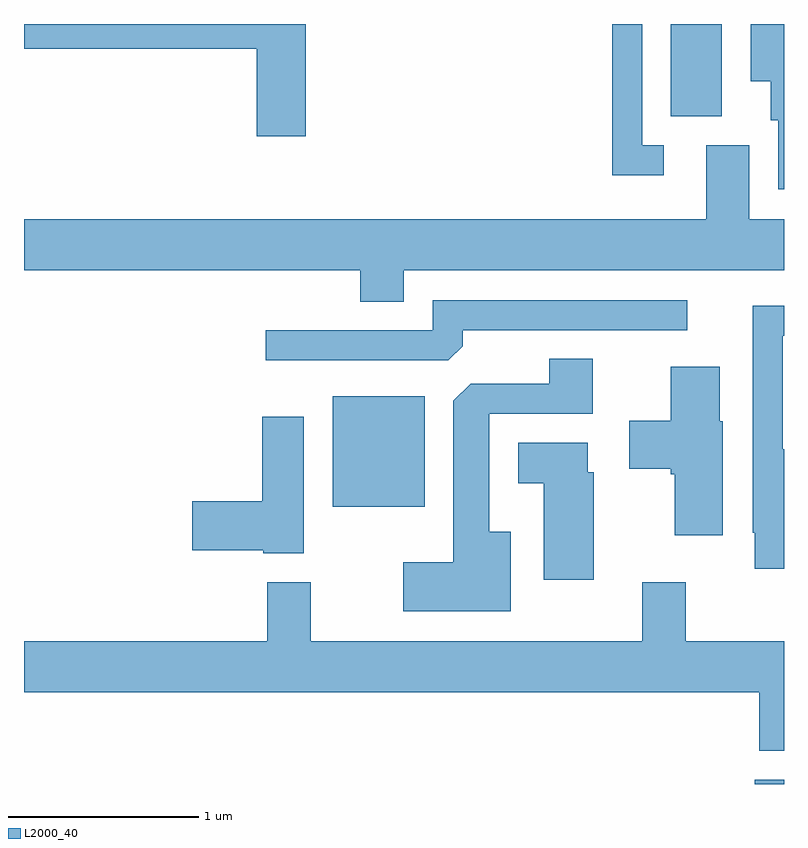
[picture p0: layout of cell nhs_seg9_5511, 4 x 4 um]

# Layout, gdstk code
import gdstk
lib = gdstk.Library(unit=1e-6, precision=1e-09)
def R(c, l, rs):  # rectangles x0, y0, x1, y1
    for r in rs: c.add(gdstk.rectangle(r[:2], r[2:], *l))
def P(c, l, *ps):  # polygons
    for p in ps: c.add(gdstk.Polygon(p, *l))
L2000_40 = (2000, 40)

nhs_seg9_5511 = lib.new_cell('nhs_seg9_5511')
R(nhs_seg9_5511, L2000_40, [(351.456,2002.432,351.611,2002.454), (349.236,2003.891,349.719,2004.474), (351.016,2005.946,351.284,2006.432)])
P(nhs_seg9_5511, L2000_40, [(349.094,2006.432),(347.611,2006.432),(347.611,2006.301),(348.836,2006.301),(348.836,2005.841),(349.094,2005.841)],
  [(351.611,2006.432),(351.436,2006.432),(351.436,2006.131),(351.541,2006.131),(351.541,2005.926),(351.581,2005.926),(351.581,2005.561),(351.611,2005.561)],
  [(350.978,2005.794),(350.864,2005.794),(350.864,2006.432),(350.706,2006.432),(350.706,2005.636),(350.978,2005.636)],
  [(349.609,2005.136),(351.611,2005.136),(351.611,2005.404),(351.429,2005.404),(351.429,2005.794),(351.201,2005.794),(351.201,2005.404),(347.611,2005.404),(347.611,2005.136),(349.381,2005.136),(349.381,2004.971),(349.609,2004.971)],
  [(349.919,2004.737),(349.919,2004.821),(351.103,2004.821),(351.103,2004.979),(349.761,2004.979),(349.761,2004.819),(348.883,2004.819),(348.883,2004.661),(349.844,2004.661)],
  [(351.611,2004.194),(351.604,2004.194),(351.604,2004.791),(351.611,2004.791),(351.611,2004.949),(351.446,2004.949),(351.446,2003.755),(351.456,2003.755),(351.456,2003.566),(351.611,2003.566)],
  [(350.174,2003.759),(350.059,2003.759),(350.059,2004.381),(350.604,2004.381),(350.604,2004.669),(350.376,2004.669),(350.376,2004.539),(349.962,2004.539),(349.871,2004.449),(349.871,2003.599),(349.606,2003.599),(349.606,2003.341),(350.174,2003.341)],
  [(351.289,2004.34),(351.274,2004.34),(351.274,2004.629),(351.016,2004.629),(351.016,2004.344),(350.796,2004.344),(350.796,2004.091),(351.016,2004.091),(351.016,2004.061),(351.036,2004.061),(351.036,2003.741),(351.289,2003.741)],
  [(349.084,2004.364),(348.866,2004.364),(348.866,2003.919),(348.496,2003.919),(348.496,2003.661),(348.87,2003.661),(348.87,2003.646),(349.084,2003.646)],
  [(350.609,2004.074),(350.579,2004.074),(350.579,2004.229),(350.211,2004.229),(350.211,2004.016),(350.346,2004.016),(350.346,2003.506),(350.609,2003.506)],
  [(351.611,2003.184),(351.094,2003.184),(351.094,2003.494),(350.866,2003.494),(350.866,2003.184),(349.119,2003.184),(349.119,2003.494),(348.891,2003.494),(348.891,2003.184),(347.611,2003.184),(347.611,2002.916),(351.481,2002.916),(351.481,2002.606),(351.611,2002.606)])

lib.write_gds('nhs_seg9_5511.gds')
